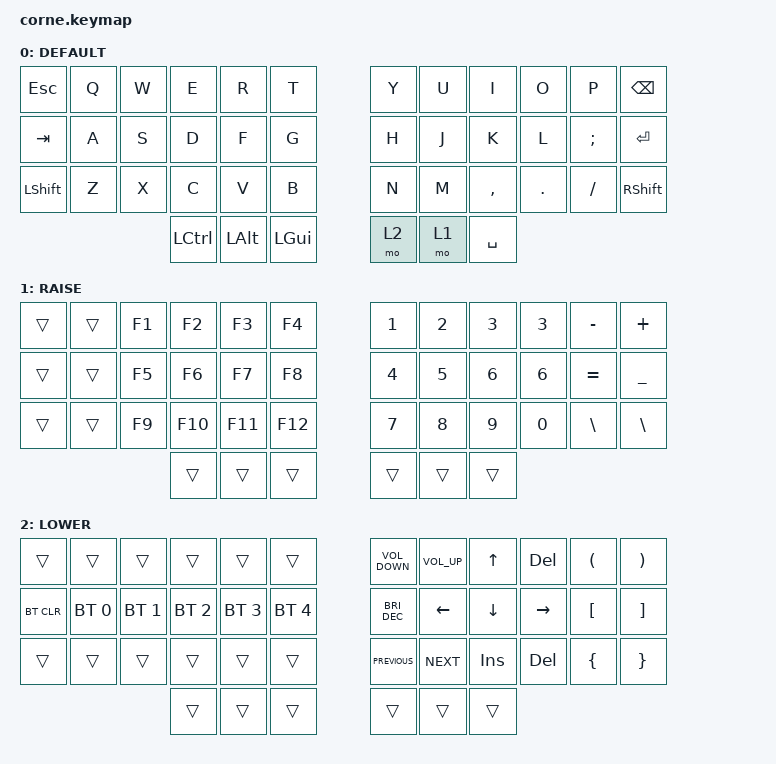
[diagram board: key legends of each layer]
/*
 * Copyright (c) 2020 The ZMK Contributors
 *
 * SPDX-License-Identifier: MIT
 */

#include <behaviors.dtsi>
#include <dt-bindings/zmk/bt.h>
#include <dt-bindings/zmk/keys.h>

#define DEFAULT 0
#define LOWER   1
#define RAISE   2

/ {
    keymap {
        compatible = "zmk,keymap";

        DEFAULT {
            bindings = <
  &kp ESC  &kp Q  &kp W      &kp E     &kp R         &kp T    &kp Y  &kp U      &kp I    &kp O     &kp P  &kp BACKSPACE
  &kp TAB  &kp A  &kp S      &kp D     &kp F         &kp G    &kp H  &kp J      &kp K    &kp L  &kp SEMI     &kp RETURN
&kp LSHFT  &kp Z  &kp X      &kp C     &kp V         &kp B    &kp N  &kp M  &kp COMMA  &kp DOT  &kp FSLH      &kp RSHFT
                         &kp LCTRL  &kp LALT  &kp LEFT_GUI    &mo 2  &mo 1  &kp SPACE
            >;
        };

        RAISE {
            bindings = <
&trans  &trans  &kp F1   &kp F2   &kp F3   &kp F4    &kp NUMBER_1  &kp NUMBER_2  &kp NUMBER_3        &kp N3      &kp MINUS        &kp PLUS
&trans  &trans  &kp F5   &kp F6   &kp F7   &kp F8    &kp NUMBER_4  &kp NUMBER_5  &kp NUMBER_6        &kp N6      &kp EQUAL  &kp UNDERSCORE
&trans  &trans  &kp F9  &kp F10  &kp F11  &kp F12    &kp NUMBER_7  &kp NUMBER_8  &kp NUMBER_9  &kp NUMBER_0  &kp BACKSLASH   &kp BACKSLASH
                         &trans   &trans   &trans          &trans        &trans        &trans
            >;
        };

        LOWER {
            bindings = <
    &trans        &trans        &trans        &trans        &trans        &trans       &kp C_VOLUME_DOWN  &kp C_VOLUME_UP    &kp UP_ARROW  &kp DELETE  &kp LEFT_PARENTHESIS  &kp RIGHT_PARENTHESIS
&bt BT_CLR  &bt BT_SEL 0  &bt BT_SEL 1  &bt BT_SEL 2  &bt BT_SEL 3  &bt BT_SEL 4    &kp C_BRIGHTNESS_DEC         &kp LEFT  &kp DOWN_ARROW   &kp RIGHT      &kp LEFT_BRACKET      &kp RIGHT_BRACKET
    &trans        &trans        &trans        &trans        &trans        &trans          &kp K_PREVIOUS       &kp K_NEXT      &kp INSERT     &kp DEL        &kp LEFT_BRACE        &kp RIGHT_BRACE
                                              &trans        &trans        &trans                  &trans           &trans          &trans
            >;
        };
    };
};
